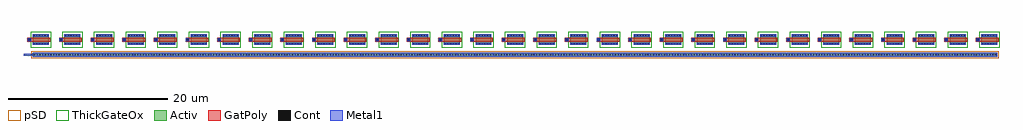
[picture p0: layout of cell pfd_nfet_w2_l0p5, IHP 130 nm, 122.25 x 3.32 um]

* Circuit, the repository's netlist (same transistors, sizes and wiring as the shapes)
* extracted by klt extract --deck sg13cmos5l

* cell pfd_nfet_w2_l0p5
* pin vsubs
.SUBCKT pfd_nfet_w2_l0p5 vsubs
* device instance $1 r0 *1 1.89,3.11 nfet
X$1 \$64 \$2 \$3 vsubs sg13_hv_nmos L=0.5U W=2U AS=0.8P AD=0.8P PS=4.8U PD=4.8U
* device instance $2 r0 *1 5.03,3.11 nfet
X$2 \$65 \$4 \$5 vsubs sg13_hv_nmos L=0.5U W=2U AS=0.8P AD=0.8P PS=4.8U PD=4.8U
* device instance $3 r0 *1 8.17,3.11 nfet
X$3 \$66 \$6 \$7 vsubs sg13_hv_nmos L=0.5U W=2U AS=0.8P AD=0.8P PS=4.8U PD=4.8U
* device instance $4 r0 *1 11.31,3.11 nfet
X$4 \$67 \$8 \$9 vsubs sg13_hv_nmos L=0.5U W=2U AS=0.8P AD=0.8P PS=4.8U PD=4.8U
* device instance $5 r0 *1 14.45,3.11 nfet
X$5 \$68 \$10 \$11 vsubs sg13_hv_nmos L=0.5U W=2U AS=0.8P AD=0.8P PS=4.8U
+ PD=4.8U
* device instance $6 r0 *1 17.59,3.11 nfet
X$6 \$69 \$12 \$13 vsubs sg13_hv_nmos L=0.5U W=2U AS=0.8P AD=0.8P PS=4.8U
+ PD=4.8U
* device instance $7 r0 *1 20.73,3.11 nfet
X$7 \$70 \$14 \$15 vsubs sg13_hv_nmos L=0.5U W=2U AS=0.8P AD=0.8P PS=4.8U
+ PD=4.8U
* device instance $8 r0 *1 23.87,3.11 nfet
X$8 \$71 \$16 \$17 vsubs sg13_hv_nmos L=0.5U W=2U AS=0.8P AD=0.8P PS=4.8U
+ PD=4.8U
* device instance $9 r0 *1 27.01,3.11 nfet
X$9 \$72 \$18 \$19 vsubs sg13_hv_nmos L=0.5U W=2U AS=0.8P AD=0.8P PS=4.8U
+ PD=4.8U
* device instance $10 r0 *1 30.15,3.11 nfet
X$10 \$73 \$20 \$21 vsubs sg13_hv_nmos L=0.5U W=2U AS=0.8P AD=0.8P PS=4.8U
+ PD=4.8U
* device instance $11 r0 *1 33.29,3.11 nfet
X$11 \$74 \$22 \$23 vsubs sg13_hv_nmos L=0.5U W=2U AS=0.8P AD=0.8P PS=4.8U
+ PD=4.8U
* device instance $12 r0 *1 36.43,3.11 nfet
X$12 \$75 \$24 \$25 vsubs sg13_hv_nmos L=0.5U W=2U AS=0.8P AD=0.8P PS=4.8U
+ PD=4.8U
* device instance $13 r0 *1 39.57,3.11 nfet
X$13 \$76 \$26 \$27 vsubs sg13_hv_nmos L=0.5U W=2U AS=0.8P AD=0.8P PS=4.8U
+ PD=4.8U
* device instance $14 r0 *1 42.71,3.11 nfet
X$14 \$77 \$28 \$29 vsubs sg13_hv_nmos L=0.5U W=2U AS=0.8P AD=0.8P PS=4.8U
+ PD=4.8U
* device instance $15 r0 *1 45.85,3.11 nfet
X$15 \$78 \$30 \$31 vsubs sg13_hv_nmos L=0.5U W=2U AS=0.8P AD=0.8P PS=4.8U
+ PD=4.8U
* device instance $16 r0 *1 48.99,3.11 nfet
X$16 \$79 \$32 \$33 vsubs sg13_hv_nmos L=0.5U W=2U AS=0.8P AD=0.8P PS=4.8U
+ PD=4.8U
* device instance $17 r0 *1 52.13,3.11 nfet
X$17 \$80 \$34 \$35 vsubs sg13_hv_nmos L=0.5U W=2U AS=0.8P AD=0.8P PS=4.8U
+ PD=4.8U
* device instance $18 r0 *1 55.27,3.11 nfet
X$18 \$81 \$36 \$37 vsubs sg13_hv_nmos L=0.5U W=2U AS=0.8P AD=0.8P PS=4.8U
+ PD=4.8U
* device instance $19 r0 *1 58.41,3.11 nfet
X$19 \$82 \$38 \$39 vsubs sg13_hv_nmos L=0.5U W=2U AS=0.8P AD=0.8P PS=4.8U
+ PD=4.8U
* device instance $20 r0 *1 61.55,3.11 nfet
X$20 \$83 \$40 \$41 vsubs sg13_hv_nmos L=0.5U W=2U AS=0.8P AD=0.8P PS=4.8U
+ PD=4.8U
* device instance $21 r0 *1 64.69,3.11 nfet
X$21 \$84 \$42 \$43 vsubs sg13_hv_nmos L=0.5U W=2U AS=0.8P AD=0.8P PS=4.8U
+ PD=4.8U
* device instance $22 r0 *1 67.83,3.11 nfet
X$22 \$85 \$44 \$45 vsubs sg13_hv_nmos L=0.5U W=2U AS=0.8P AD=0.8P PS=4.8U
+ PD=4.8U
* device instance $23 r0 *1 70.97,3.11 nfet
X$23 \$86 \$46 \$47 vsubs sg13_hv_nmos L=0.5U W=2U AS=0.8P AD=0.8P PS=4.8U
+ PD=4.8U
* device instance $24 r0 *1 74.11,3.11 nfet
X$24 \$87 \$48 \$49 vsubs sg13_hv_nmos L=0.5U W=2U AS=0.8P AD=0.8P PS=4.8U
+ PD=4.8U
* device instance $25 r0 *1 77.25,3.11 nfet
X$25 \$88 \$50 \$51 vsubs sg13_hv_nmos L=0.5U W=2U AS=0.8P AD=0.8P PS=4.8U
+ PD=4.8U
* device instance $26 r0 *1 80.39,3.11 nfet
X$26 \$89 \$52 \$53 vsubs sg13_hv_nmos L=0.5U W=2U AS=0.8P AD=0.8P PS=4.8U
+ PD=4.8U
* device instance $27 r0 *1 83.53,3.11 nfet
X$27 \$90 \$54 \$55 vsubs sg13_hv_nmos L=0.5U W=2U AS=0.8P AD=0.8P PS=4.8U
+ PD=4.8U
* device instance $28 r0 *1 86.67,3.11 nfet
X$28 \$91 \$56 \$57 vsubs sg13_hv_nmos L=0.5U W=2U AS=0.8P AD=0.8P PS=4.8U
+ PD=4.8U
* device instance $29 r0 *1 89.81,3.11 nfet
X$29 \$92 \$58 \$59 vsubs sg13_hv_nmos L=0.5U W=2U AS=0.8P AD=0.8P PS=4.8U
+ PD=4.8U
* device instance $30 r0 *1 92.95,3.11 nfet
X$30 \$93 \$60 \$61 vsubs sg13_hv_nmos L=0.5U W=2U AS=0.8P AD=0.8P PS=4.8U
+ PD=4.8U
* device instance $31 r0 *1 96.09,3.11 nfet
X$31 \$94 \$62 \$63 vsubs sg13_hv_nmos L=0.5U W=2U AS=0.8P AD=0.8P PS=4.8U
+ PD=4.8U
.ENDS pfd_nfet_w2_l0p5

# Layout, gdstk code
import gdstk
lib = gdstk.Library(unit=1e-6, precision=1e-09)
def R(c, l, rs):  # rectangles x0, y0, x1, y1
    for r in rs: c.add(gdstk.rectangle(r[:2], r[2:], *l))
def A(c, l, x, y, w, h, nx, ny, dx, dy):  # array of equal rectangles
    R(c, l, [(x+i*dx, y+j*dy, x+i*dx+w, y+j*dy+h) for i in range(nx) for j in range(ny)])
Activ = (1, 0)
GatPoly = (5, 0)
Cont = (6, 0)
Metal1 = (8, 0)
pSD = (14, 0)
ThickGateOx = (44, 0)

pfd_nfet_w2_l0p5 = lib.new_cell('pfd_nfet_w2_l0p5')
A(pfd_nfet_w2_l0p5, Activ, 1.3, 2.46, 2, 1.3, 31, 1, 3.96, 0)
R(pfd_nfet_w2_l0p5, Activ, [(1.3,0.96,122.1,1.46)])
A(pfd_nfet_w2_l0p5, GatPoly, 0.62, 2.86, 0.5, 0.5, 31, 1, 3.96, 0)
A(pfd_nfet_w2_l0p5, GatPoly, 1.12, 2.86, 2.36, 0.5, 31, 1, 3.96, 0)
A(pfd_nfet_w2_l0p5, Cont, 1.44, 1.13, 0.16, 0.16, 355, 1, 0.34, 0)
A(pfd_nfet_w2_l0p5, Cont, 1.37, 2.53, 0.16, 0.16, 6, 2, 0.34, 1)
A(pfd_nfet_w2_l0p5, Cont, 5.33, 2.53, 0.16, 0.16, 6, 2, 0.34, 1)
A(pfd_nfet_w2_l0p5, Cont, 9.29, 2.53, 0.16, 0.16, 6, 2, 0.34, 1)
A(pfd_nfet_w2_l0p5, Cont, 13.25, 2.53, 0.16, 0.16, 6, 2, 0.34, 1)
A(pfd_nfet_w2_l0p5, Cont, 17.21, 2.53, 0.16, 0.16, 6, 2, 0.34, 1)
A(pfd_nfet_w2_l0p5, Cont, 21.17, 2.53, 0.16, 0.16, 6, 2, 0.34, 1)
A(pfd_nfet_w2_l0p5, Cont, 25.13, 2.53, 0.16, 0.16, 6, 2, 0.34, 1)
A(pfd_nfet_w2_l0p5, Cont, 29.09, 2.53, 0.16, 0.16, 6, 2, 0.34, 1)
A(pfd_nfet_w2_l0p5, Cont, 33.05, 2.53, 0.16, 0.16, 6, 2, 0.34, 1)
A(pfd_nfet_w2_l0p5, Cont, 37.01, 2.53, 0.16, 0.16, 6, 2, 0.34, 1)
A(pfd_nfet_w2_l0p5, Cont, 40.97, 2.53, 0.16, 0.16, 6, 2, 0.34, 1)
A(pfd_nfet_w2_l0p5, Cont, 44.93, 2.53, 0.16, 0.16, 6, 2, 0.34, 1)
A(pfd_nfet_w2_l0p5, Cont, 48.89, 2.53, 0.16, 0.16, 6, 2, 0.34, 1)
A(pfd_nfet_w2_l0p5, Cont, 52.85, 2.53, 0.16, 0.16, 6, 2, 0.34, 1)
A(pfd_nfet_w2_l0p5, Cont, 56.81, 2.53, 0.16, 0.16, 6, 2, 0.34, 1)
A(pfd_nfet_w2_l0p5, Cont, 60.77, 2.53, 0.16, 0.16, 6, 2, 0.34, 1)
A(pfd_nfet_w2_l0p5, Cont, 64.73, 2.53, 0.16, 0.16, 6, 2, 0.34, 1)
A(pfd_nfet_w2_l0p5, Cont, 68.69, 2.53, 0.16, 0.16, 6, 2, 0.34, 1)
A(pfd_nfet_w2_l0p5, Cont, 72.65, 2.53, 0.16, 0.16, 6, 2, 0.34, 1)
A(pfd_nfet_w2_l0p5, Cont, 76.61, 2.53, 0.16, 0.16, 6, 2, 0.34, 1)
A(pfd_nfet_w2_l0p5, Cont, 80.57, 2.53, 0.16, 0.16, 6, 2, 0.34, 1)
A(pfd_nfet_w2_l0p5, Cont, 84.53, 2.53, 0.16, 0.16, 6, 2, 0.34, 1)
A(pfd_nfet_w2_l0p5, Cont, 88.49, 2.53, 0.16, 0.16, 6, 2, 0.34, 1)
A(pfd_nfet_w2_l0p5, Cont, 92.45, 2.53, 0.16, 0.16, 6, 2, 0.34, 1)
A(pfd_nfet_w2_l0p5, Cont, 96.41, 2.53, 0.16, 0.16, 6, 2, 0.34, 1)
A(pfd_nfet_w2_l0p5, Cont, 100.37, 2.53, 0.16, 0.16, 6, 2, 0.34, 1)
A(pfd_nfet_w2_l0p5, Cont, 104.33, 2.53, 0.16, 0.16, 6, 2, 0.34, 1)
A(pfd_nfet_w2_l0p5, Cont, 108.29, 2.53, 0.16, 0.16, 6, 2, 0.34, 1)
A(pfd_nfet_w2_l0p5, Cont, 112.25, 2.53, 0.16, 0.16, 6, 2, 0.34, 1)
A(pfd_nfet_w2_l0p5, Cont, 116.21, 2.53, 0.16, 0.16, 6, 2, 0.34, 1)
A(pfd_nfet_w2_l0p5, Cont, 120.17, 2.53, 0.16, 0.16, 6, 2, 0.34, 1)
A(pfd_nfet_w2_l0p5, Cont, 0.79, 3.03, 0.16, 0.16, 31, 1, 3.96, 0)
A(pfd_nfet_w2_l0p5, Metal1, 1.3, 2.46, 2, 0.26, 31, 2, 3.96, 1.04)
A(pfd_nfet_w2_l0p5, Metal1, 0.67, 2.91, 0.4, 0.4, 31, 1, 3.96, 0)
R(pfd_nfet_w2_l0p5, Metal1, [(1.3,0.96,122.1,1.46), (0.125,1.085,1.3,1.335)])
R(pfd_nfet_w2_l0p5, pSD, [(1.12,0.78,122.28,1.64)])
A(pfd_nfet_w2_l0p5, ThickGateOx, 1.03, 2.12, 2.54, 1.98, 31, 1, 3.96, 0)

lib.write_gds('pfd_nfet_w2_l0p5.gds')
